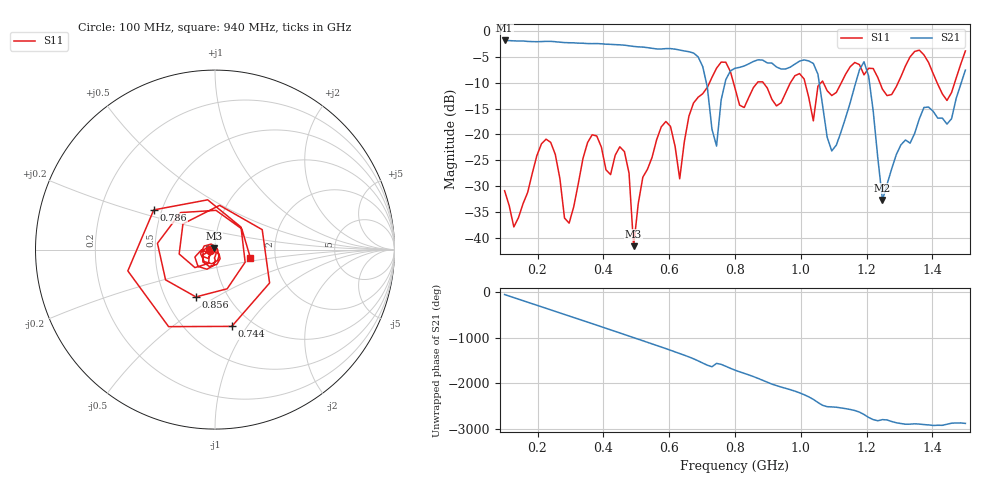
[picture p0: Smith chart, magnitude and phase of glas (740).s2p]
! NanoVNA-App
! Date: 2025-09-25 16:01:14
! Start: 100MHz Stop: 1,5GHz Points: 101
! S-Parameter data: F S11 S21 S12 S22
# Hz S RI R 50
!  Frequency  S11_Real  S11_Imag  S21_Real  S21_Imag  S12_Real  S12_Imag  S22_Real  S22_Imag
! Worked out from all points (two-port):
!   101 points, 100 MHz to 1.5 GHz, reference 50 ohm
!   highest |S21| = -1.80 dB at 100 MHz (marker M1); lowest = -32.7 dB at 1.248 GHz (marker M2)
!   |S21| within 3 dB of the highest: start of sweep to 684.6 MHz
!   lowest |S11| = -41.7 dB at 492 MHz (marker M3), VSWR 1.02, Z = 49.5 + j0.654 ohm
!   |S11| at or under -10 dB: start of sweep to 722.4 MHz; 795.5 MHz to 867.7 MHz (72.27 MHz wide, 8.69 % of centre); 886.1 MHz to 968.3 MHz (82.22 MHz wide, 8.87 % of centre) (the widest 3 of 7)
!   S12 and S22 are empty: the file has one direction only
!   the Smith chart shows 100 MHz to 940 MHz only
!   S11 on the Smith chart (normalised r, x): 100 MHz: 0.94, -0.01; 744 MHz: 0.80, -0.85; 786 MHz: 0.45, +0.24; 856 MHz: 0.71, -0.41; 940 MHz: 1.48, -0.14
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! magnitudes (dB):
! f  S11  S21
! 100 MHz  -30.9  -1.8
! 128 MHz  -37.9  -1.9
! 226 MHz  -20.9  -2.0
! 296 MHz  -37.2  -2.2
! 338 MHz  -24.7  -2.3
! 464 MHz  -23.3  -2.7
! 492 MHz  -41.7  -3.0
! 576 MHz  -18.5  -3.5
! 632 MHz  -28.6  -3.7
! 702 MHz  -12.1  -6.9
! 744 MHz  -7.2  -22.3
! 786 MHz  -7.8  -7.7
! 800 MHz  -11.0  -7.2
! 856 MHz  -10.9  -5.9
! 940 MHz  -13.9  -7.3
! 996 MHz  -8.2  -5.8
! 1.038 GHz  -17.4  -6.3
! 1.094 GHz  -12.5  -23.2
! 1.192 GHz  -8.5  -5.9
! 1.248 GHz  -11.3  -32.7
! 1.276 GHz  -12.3  -26.7
! 1.5 GHz  -3.8  -7.5
